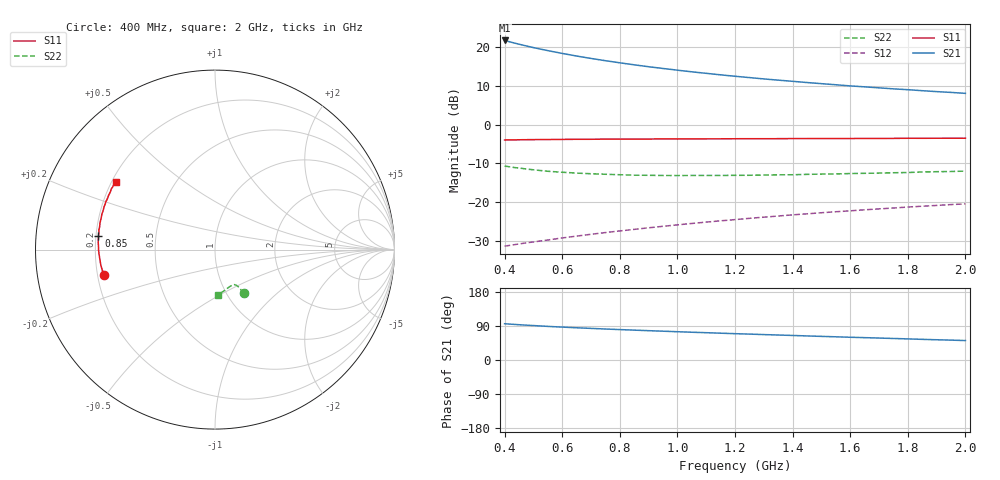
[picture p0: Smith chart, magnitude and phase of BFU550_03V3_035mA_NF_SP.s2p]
! Filename:  P:\Prog\Test\Noise\ATS_data\Testdata_Net\06 Compressed Noise after Statistics\BFU550_APG2013_43_D05_03p3V_035mA_NF_CM01_D.sf
! Date/Time: Fri 26/Apr/2013 13:07:20
! BFU550_APG2013_43_D05_03p3V_1to35mA_NF_CM01_Bias8_R.sf
! Noise Parameter Data File
! BFU550_APG2013_43_D05_03p3V_1to35mA_NF_CM01
! Date/time: Thu Apr 25 15:07:57 2013
! VAR V_out= 3.300000
! VAR I_out= 35.000000
! VAR V_in= 0.849900
! VAR I_in= 0.409900
! Device data file deembeded for feedlines and parallel
! Original file: \06 Compressed Noise after Statistics\BFU550_APG2013_43_D05_03p3V_035mA_NF_CM01_R.sf
! Feed-files: PR047V01_250413_Feed1.s2p, PR047V01_250413_Feed2.s2p
! Parallel-file: PR047V01_250413_Par.s2p
# MHz S MA R 50
!  Freq-MHz  S11-mag  S11-arg  S21-mag  S21-arg  S12-mag  S12-arg  S22-mag  S22-arg
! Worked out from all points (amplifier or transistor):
!   37 points, 400 MHz to 2 GHz, reference 50 ohm
!   highest |S21| = 21.8 dB at 400 MHz (marker M1)
!   |S21| within 3 dB of that: start of sweep to 575.7 MHz
!   unconditionally stable (mu >= 1): 737.5 MHz to end of sweep
!   at 500 MHz: K = 0.89, MSG = 25.1 dB, |S12| = -30.3 dB
!   at 1.1 GHz: K = 1.07, MAG = 17.7 dB, |S12| = -25.2 dB
!   at 2 GHz: K = 1.09, MAG = 12.4 dB, |S12| = -20.5 dB
!   lowest NFmin = 1.22 dB at 440 MHz
!   S11 on the Smith chart (normalised r, x): 400 MHz: 0.23, -0.11; 850 MHz: 0.21, +0.06; 2 GHz: 0.22, +0.30
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400  0.6354 -167.2  12.32 95.7  0.0269 53.9  0.2924 -56.4
433  0.6379 -169.3  11.43 94.0  0.02811 54.7  0.2802 -56.7
460  0.6402 -171.0  10.79 92.6  0.0291 55.3  0.2726 -57.0
500  0.6424 -173.2  9.965 90.9  0.03052 56.3  0.2616 -57.2
550  0.6443 -175.7  9.099 88.7  0.03233 57.7  0.2504 -57.3
600  0.6466 -177.9  8.379 86.8  0.03436 58.6  0.2432 -58.0
650  0.6487 -179.9  7.748 85.0  0.03629 59.5  0.2371 -58.6
700  0.6494 178.4  7.212 83.4  0.03832 60.3  0.2326 -59.0
750  0.652 176.5  6.742 81.8  0.04034 61.0  0.229 -59.7
800  0.6524 174.9  6.329 80.3  0.04233 61.6  0.2258 -60.5
850  0.6535 173.3  5.963 78.8  0.04435 62.2  0.2229 -61.1
900  0.6539 171.6  5.633 77.4  0.04647 62.8  0.222 -62.0
950  0.6561 170.3  5.349 76.0  0.0486 63.2  0.2208 -62.9
1050  0.6572 167.3  4.842 73.3  0.05289 63.9  0.2209 -64.8
1150  0.658 164.8  4.425 70.8  0.05722 64.3  0.2208 -66.7
1200  0.6593 163.4  4.24 69.5  0.05933 64.4  0.2219 -67.9
1300  0.6599 161.0  3.919 67.1  0.0638 64.7  0.2237 -69.9
1350  0.661 159.9  3.777 65.9  0.06603 64.8  0.2251 -71.0
1500  0.6643 156.3  3.402 62.3  0.07276 64.7  0.2301 -74.4
1600  0.664 153.8  3.183 60.0  0.07705 64.5  0.234 -76.6
1750  0.6665 150.6  2.914 56.8  0.08376 64.3  0.2396 -80.1
2000  0.6697 145.6  2.548 51.3  0.09479 63.6  0.2516 -85.8
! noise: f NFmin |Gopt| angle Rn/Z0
400  1.339  0.4331  -172.3  0.0658
460  1.265  0.4586  -171.1  0.0605
600  1.282  0.4638  -166.9  0.0629
800  1.356  0.4877  -163.5  0.0631
1000  1.396  0.4998  -160.1  0.0675
1200  1.489  0.5094  -155.1  0.0779
1400  1.529  0.5267  -151.1  0.0879
1600  1.626  0.5121  -146.6  0.1136
1800  1.658  0.541  -142.7  0.1232
2000  1.769  0.5502  -139.4  0.1492
